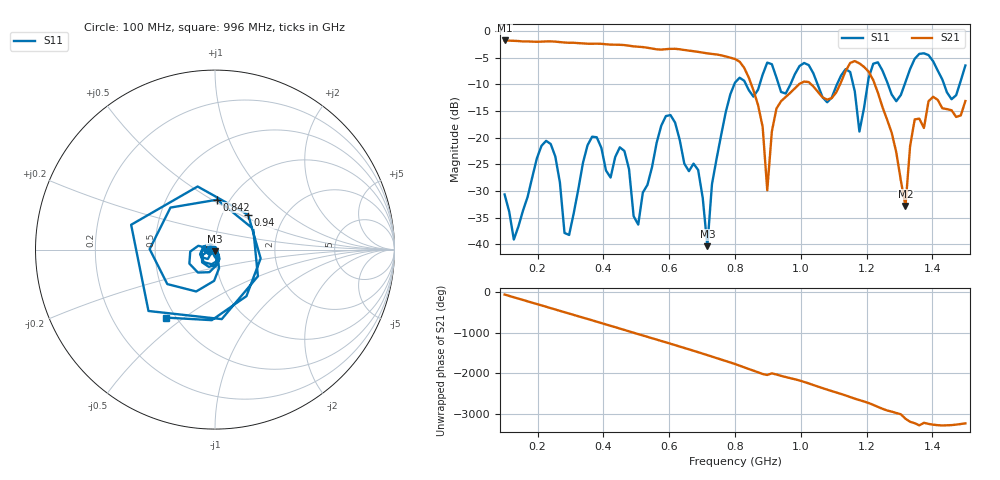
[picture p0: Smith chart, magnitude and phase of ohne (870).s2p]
! NanoVNA-App
! Date: 2025-09-25 14:27:34
! Start: 100MHz Stop: 1,5GHz Points: 101
! S-Parameter data: F S11 S21 S12 S22
# Hz S RI R 50
!  Frequency  S11_Real  S11_Imag  S21_Real  S21_Imag  S12_Real  S12_Imag  S22_Real  S22_Imag
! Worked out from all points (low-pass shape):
!   101 points, 100 MHz to 1.5 GHz, reference 50 ohm
!   highest |S21| = -1.79 dB at 100 MHz (marker M1); lowest = -32.8 dB at 1.318 GHz (marker M2)
!   |S21| within 3 dB of the highest: start of sweep to 772.1 MHz
!   lowest |S11| = -40.3 dB at 716 MHz (marker M3), VSWR 1.02, Z = 49.7 - j0.917 ohm
!   |S11| at or under -10 dB: start of sweep to 798 MHz; 833.2 MHz to 875 MHz (41.81 MHz wide, 4.89 % of centre); 1.051 GHz to 1.11 GHz (59.2 MHz wide, 5.48 % of centre) (the widest 3 of 7)
!   S12 and S22 are empty: the file has one direction only
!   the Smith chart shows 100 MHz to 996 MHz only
!   S11 on the Smith chart (normalised r, x): 100 MHz: 0.94, -0.01; 842 MHz: 0.88, +0.53; 940 MHz: 1.32, +0.55; 996 MHz: 0.44, -0.43
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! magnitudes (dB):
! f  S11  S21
! 100 MHz  -30.6  -1.8
! 128 MHz  -39.1  -1.9
! 226 MHz  -20.6  -2.0
! 296 MHz  -38.2  -2.2
! 338 MHz  -24.7  -2.3
! 464 MHz  -22.5  -2.7
! 506 MHz  -36.3  -3.0
! 576 MHz  -17.7  -3.5
! 688 MHz  -26.0  -3.9
! 716 MHz  -40.3  -4.2
! 800 MHz  -9.7  -5.3
! 842 MHz  -11.1  -8.8
! 898 MHz  -5.9  -29.9
! 940 MHz  -11.4  -13.2
! 996 MHz  -6.6  -9.9
! 1.038 GHz  -7.9  -10.4
! 1.178 GHz  -18.9  -6.1
! 1.22 GHz  -6.2  -9.2
! 1.276 GHz  -11.9  -19.1
! 1.318 GHz  -9.6  -32.8
! 1.346 GHz  -5.2  -16.6
! 1.5 GHz  -6.5  -13.1
